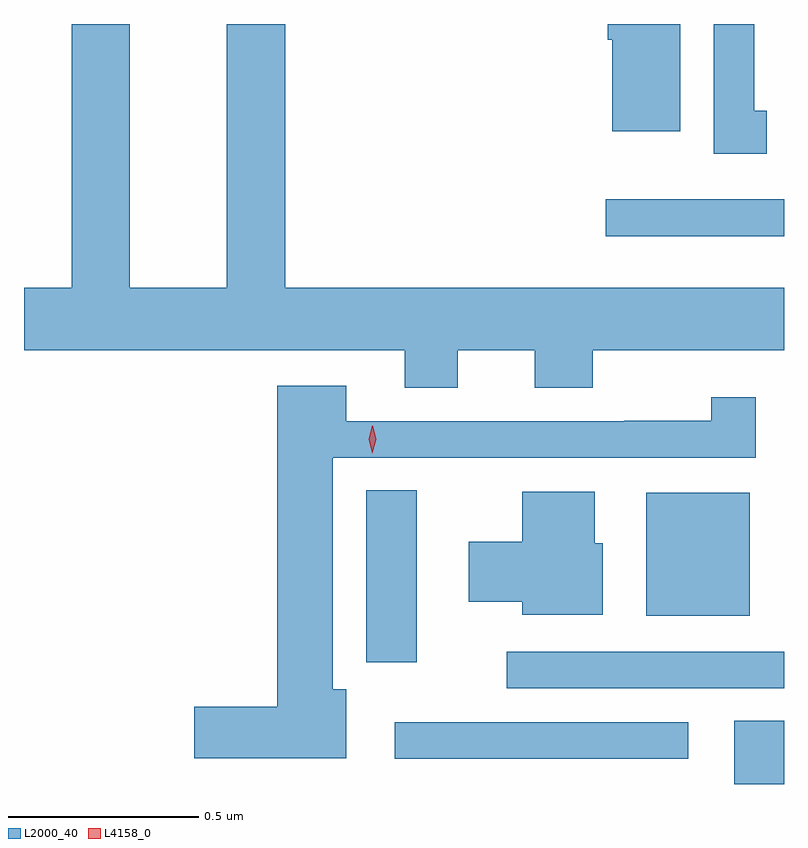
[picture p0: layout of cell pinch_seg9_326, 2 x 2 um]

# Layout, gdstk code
import gdstk
lib = gdstk.Library(unit=1e-6, precision=1e-09)
def R(c, l, rs):  # rectangles x0, y0, x1, y1
    for r in rs: c.add(gdstk.rectangle(r[:2], r[2:], *l))
def P(c, l, *ps):  # polygons
    for p in ps: c.add(gdstk.Polygon(p, *l))
L2000_40 = (2000, 40)
L4158_0 = (4158, 0)

pinch_seg9_326 = lib.new_cell('pinch_seg9_326')
R(pinch_seg9_326, L2000_40, [(567.263,1200.606,567.394,1200.773), (566.37,1200.672,567.142,1200.768), (566.664,1200.858,567.394,1200.954), (566.294,1200.927,566.428,1201.379), (567.032,1201.049,567.304,1201.372), (566.925,1202.048,567.394,1202.145)])
P(pinch_seg9_326, L2000_40, [(566.536,1201.748),(566.738,1201.748),(566.738,1201.649),(566.891,1201.649),(566.891,1201.748),(567.394,1201.748),(567.394,1201.912),(566.081,1201.912),(566.081,1202.606),(565.928,1202.606),(565.928,1201.912),(565.672,1201.912),(565.672,1202.606),(565.52,1202.606),(565.52,1201.912),(565.394,1201.912),(565.394,1201.748),(566.396,1201.748),(566.396,1201.649),(566.536,1201.649)],
  [(567.349,1202.378),(567.316,1202.378),(567.316,1202.606),(567.209,1202.606),(567.209,1202.265),(567.349,1202.265)],
  [(567.121,1202.606),(566.93,1202.606),(566.93,1202.564),(566.942,1202.564),(566.942,1202.324),(567.121,1202.324)],
  [(566.242,1200.856),(566.206,1200.856),(566.206,1201.464),(567.319,1201.464),(567.319,1201.624),(567.202,1201.624),(567.202,1201.562),(566.974,1201.562),(566.974,1201.56),(566.242,1201.56),(566.242,1201.654),(566.06,1201.654),(566.06,1200.809),(565.842,1200.809),(565.842,1200.674),(566.242,1200.674)],
  [(566.917,1201.239),(566.896,1201.239),(566.896,1201.375),(566.705,1201.375),(566.705,1201.243),(566.565,1201.243),(566.565,1201.085),(566.705,1201.085),(566.705,1201.052),(566.917,1201.052)])
P(pinch_seg9_326, L4158_0, [(566.31,1201.477),(566.31,1201.477),(566.301,1201.513),(566.311,1201.549),(566.311,1201.549),(566.312,1201.549),(566.321,1201.513),(566.311,1201.477)])

lib.write_gds('pinch_seg9_326.gds')
